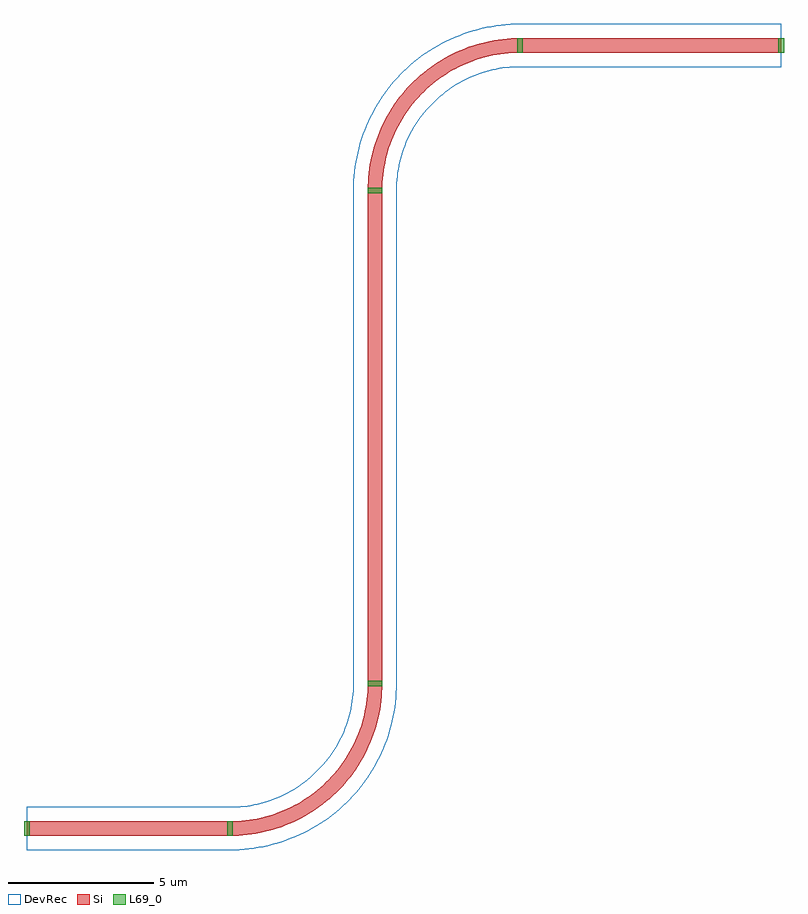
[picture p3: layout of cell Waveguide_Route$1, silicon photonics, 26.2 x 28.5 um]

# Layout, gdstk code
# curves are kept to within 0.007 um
from math import pi, radians
import gdstk
lib = gdstk.Library(unit=1e-6, precision=1e-09)
def R(c, l, rs):  # rectangles x0, y0, x1, y1
    for r in rs: c.add(gdstk.rectangle(r[:2], r[2:], *l))
def P(c, l, *ps):  # polygons
    for p in ps: c.add(gdstk.Polygon(p, *l))
Si = (1, 0)
DevRec = (68, 0)
L69_0 = (69, 0)

waveguide_bend_2 = lib.new_cell('Waveguide_Bend$2')
P(waveguide_bend_2, Si, [(-5,-0.25),(-5,0.25),(-4.594,0.267),(-4.324,0.298),(-4.057,0.345),(-3.792,0.406),(-3.532,0.482),(-3.151,0.625),(-2.783,0.799),(-2.432,1.004),(-2.099,1.238),(-1.889,1.41),(-1.69,1.594),(-1.41,1.889),(-1.238,2.099),(-1.079,2.319),(-0.932,2.547),(-0.799,2.783),(-0.625,3.151),(-0.482,3.532),(-0.406,3.792),(-0.345,4.057),(-0.298,4.324),(-0.267,4.594),(-0.25,5),(0.25,5),(0.231,4.551),(0.197,4.253),(0.145,3.957),(0.078,3.665),(-0.007,3.378),(-0.164,2.956),(-0.357,2.55),(-0.583,2.162),(-0.843,1.794),(-1.032,1.562),(-1.235,1.341),(-1.562,1.032),(-1.794,0.843),(-2.037,0.666),(-2.418,0.429),(-2.684,0.289),(-2.956,0.164),(-3.378,0.007),(-3.665,-0.078),(-3.957,-0.145),(-4.402,-0.216),(-4.7,-0.241)])
P(waveguide_bend_2, DevRec, [(-5,-0.75),(-5,0.75),(-4.757,0.757),(-4.516,0.778),(-4.156,0.835),(-3.803,0.922),(-3.346,1.085),(-3.017,1.241),(-2.702,1.425),(-2.405,1.634),(-2.038,1.952),(-1.788,2.217),(-1.634,2.405),(-1.492,2.601),(-1.299,2.91),(-1.085,3.346),(-0.922,3.803),(-0.835,4.156),(-0.778,4.516),(-0.757,4.757),(-0.75,5),(0.75,5),(0.729,4.508),(0.666,4.019),(0.601,3.698),(0.517,3.38),(0.358,2.914),(0.16,2.463),(0.007,2.173),(-0.163,1.891),(-0.348,1.62),(-0.549,1.36),(-0.876,0.993),(-1.235,0.654),(-1.489,0.447),(-1.754,0.254),(-2.173,-0.007),(-2.463,-0.16),(-2.762,-0.296),(-3.223,-0.469),(-3.538,-0.561),(-3.858,-0.635),(-4.345,-0.713),(-4.672,-0.741)])
waveguide_bend_2.add(gdstk.FlexPath([(0,5.1),(0,4.9)], 0.5, ends="flush", simple_path=True, layer=69, datatype=0))  # L69_0
waveguide_bend_2.add(gdstk.FlexPath([(-4.9,0),(-5.1,0)], 0.5, ends="flush", simple_path=True, layer=69, datatype=0))  # L69_0
waveguide_bend_2.add(gdstk.Label('Lumerical_INTERCONNECT_library=Design kits/ebeam_v1.1', (-4.5,0), layer=68, texttype=0))
waveguide_bend_2.add(gdstk.Label('Lumerical_INTERCONNECT_component=ebeam_bend_1550', (-4.5,1.25), layer=68, texttype=0))
waveguide_bend_2.add(gdstk.Label('Spice_param:radius=5.000u wg_width=0.500u', (-4.5,2.5), layer=68, texttype=0))
waveguide_bend_2.add(gdstk.Label('pin2', (0,5), layer=69, texttype=0))
waveguide_bend_2.add(gdstk.Label('pin1', (-5,0), layer=69, texttype=0))

waveguide_straight_41 = lib.new_cell('Waveguide_Straight$41')
R(waveguide_straight_41, Si, [(-8.5,-0.25,8.5,0.25)])
R(waveguide_straight_41, DevRec, [(-8.5,-0.75,8.5,0.75)])
waveguide_straight_41.add(gdstk.FlexPath([(-8.6,0),(-8.4,0)], 0.5, ends="flush", simple_path=True, layer=69, datatype=0))  # L69_0
waveguide_straight_41.add(gdstk.FlexPath([(8.4,0),(8.6,0)], 0.5, ends="flush", simple_path=True, layer=69, datatype=0))  # L69_0
waveguide_straight_41.add(gdstk.Label('Lumerical_INTERCONNECT_library=Design kits/ebeam_v1.0', (0,0), layer=68, texttype=0))
waveguide_straight_41.add(gdstk.Label('Lumerical_INTERCONNECT_component=ebeam_wg_strip_1550', (1.7,0), layer=68, texttype=0))
waveguide_straight_41.add(gdstk.Label('Spice_param:wg_width=0.500u wg_length=17.000u', (1.888,0), layer=68, texttype=0))
waveguide_straight_41.add(gdstk.Label('pin1', (-8.5,0), layer=69, texttype=0))
waveguide_straight_41.add(gdstk.Label('pin2', (8.5,0), layer=69, texttype=0))

waveguide_straight_42 = lib.new_cell('Waveguide_Straight$42')
R(waveguide_straight_42, Si, [(-4.5,-0.25,4.5,0.25)])
R(waveguide_straight_42, DevRec, [(-4.5,-0.75,4.5,0.75)])
waveguide_straight_42.add(gdstk.FlexPath([(-4.6,0),(-4.4,0)], 0.5, ends="flush", simple_path=True, layer=69, datatype=0))  # L69_0
waveguide_straight_42.add(gdstk.FlexPath([(4.4,0),(4.6,0)], 0.5, ends="flush", simple_path=True, layer=69, datatype=0))  # L69_0
waveguide_straight_42.add(gdstk.Label('Lumerical_INTERCONNECT_library=Design kits/ebeam_v1.0', (0,0), layer=68, texttype=0))
waveguide_straight_42.add(gdstk.Label('Lumerical_INTERCONNECT_component=ebeam_wg_strip_1550', (0.9,0), layer=68, texttype=0))
waveguide_straight_42.add(gdstk.Label('Spice_param:wg_width=0.500u wg_length=9.000u', (1,0), layer=68, texttype=0))
waveguide_straight_42.add(gdstk.Label('pin1', (-4.5,0), layer=69, texttype=0))
waveguide_straight_42.add(gdstk.Label('pin2', (4.5,0), layer=69, texttype=0))

waveguide_straight_43 = lib.new_cell('Waveguide_Straight$43')
R(waveguide_straight_43, Si, [(-3.5,-0.25,3.5,0.25)])
R(waveguide_straight_43, DevRec, [(-3.5,-0.75,3.5,0.75)])
waveguide_straight_43.add(gdstk.FlexPath([(-3.6,0),(-3.4,0)], 0.5, ends="flush", simple_path=True, layer=69, datatype=0))  # L69_0
waveguide_straight_43.add(gdstk.FlexPath([(3.4,0),(3.6,0)], 0.5, ends="flush", simple_path=True, layer=69, datatype=0))  # L69_0
waveguide_straight_43.add(gdstk.Label('Lumerical_INTERCONNECT_library=Design kits/ebeam_v1.0', (0,0), layer=68, texttype=0))
waveguide_straight_43.add(gdstk.Label('Lumerical_INTERCONNECT_component=ebeam_wg_strip_1550', (0.7,0), layer=68, texttype=0))
waveguide_straight_43.add(gdstk.Label('Spice_param:wg_width=0.500u wg_length=7.000u', (0.777,0), layer=68, texttype=0))
waveguide_straight_43.add(gdstk.Label('pin1', (-3.5,0), layer=69, texttype=0))
waveguide_straight_43.add(gdstk.Label('pin2', (3.5,0), layer=69, texttype=0))

waveguide_route_1 = lib.new_cell('Waveguide_Route$1')
waveguide_route_1.add(gdstk.Reference(waveguide_bend_2, (-15.7,-2.4), rotation=pi))
waveguide_route_1.add(gdstk.Reference(waveguide_bend_2, (-15.7,-29.4), rotation=3*pi/2, x_reflection=True))
waveguide_route_1.add(gdstk.Reference(waveguide_straight_41, (-15.7,-15.9), rotation=3*pi/2))
waveguide_route_1.add(gdstk.Reference(waveguide_straight_42, (-6.2,-2.4), rotation=pi))
waveguide_route_1.add(gdstk.Reference(waveguide_straight_43, (-24.2,-29.4), rotation=pi))

lib.write_gds('Waveguide_Route_1.gds')
